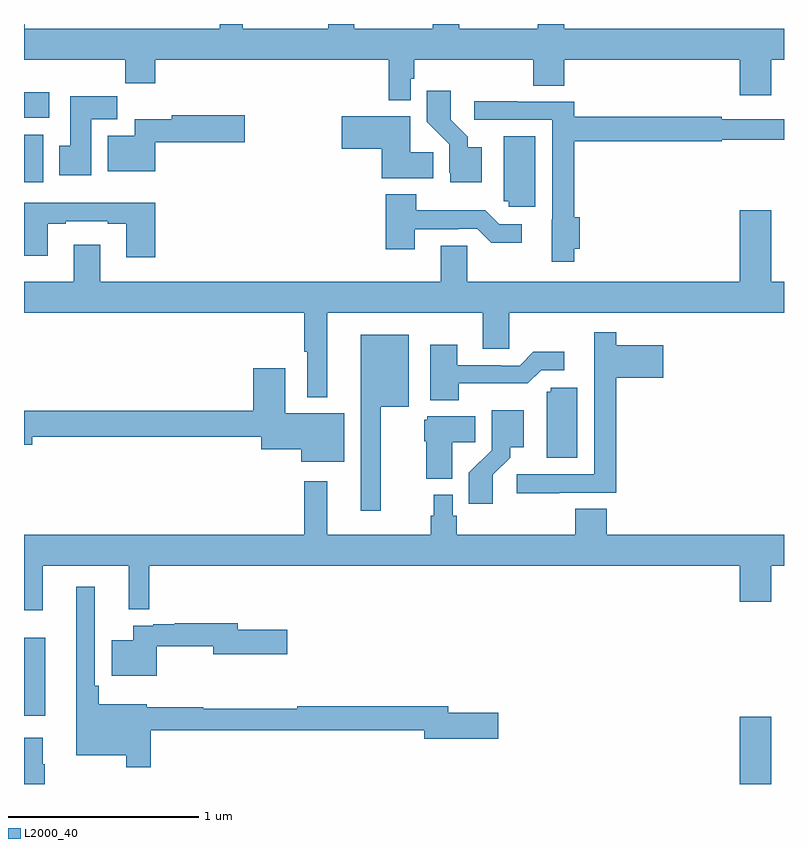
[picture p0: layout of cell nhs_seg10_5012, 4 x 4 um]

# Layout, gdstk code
import gdstk
lib = gdstk.Library(unit=1e-6, precision=1e-09)
def R(c, l, rs):  # rectangles x0, y0, x1, y1
    for r in rs: c.add(gdstk.rectangle(r[:2], r[2:], *l))
def P(c, l, *ps):  # polygons
    for p in ps: c.add(gdstk.Polygon(p, *l))
L2000_40 = (2000, 40)

nhs_seg10_5012 = lib.new_cell('nhs_seg10_5012')
R(nhs_seg10_5012, L2000_40, [(404.768,1300.5,404.932,1300.855), (401,1300.859,401.113,1301.269), (401,1303.668,401.101,1303.918), (401,1304.006,401.134,1304.14)])
P(nhs_seg10_5012, L2000_40, [(402.739,1304.5),(402.6,1304.5),(402.6,1304.476),(402.151,1304.476),(402.151,1304.5),(402.03,1304.5),(402.03,1304.476),(401.003,1304.476),(401.003,1304.5),(401,1304.5),(401,1304.312),(401.533,1304.312),(401.533,1304.188),(401.69,1304.188),(401.69,1304.312),(402.919,1304.312),(402.919,1304.099),(403.035,1304.099),(403.035,1304.211),(403.055,1304.211),(403.055,1304.312),(403.679,1304.312),(403.679,1304.176),(403.844,1304.176),(403.844,1304.312),(404.768,1304.312),(404.768,1304.124),(404.932,1304.124),(404.932,1304.312),(405,1304.312),(405,1304.476),(403.843,1304.476),(403.843,1304.5),(403.703,1304.5),(403.703,1304.476),(403.291,1304.476),(403.291,1304.5),(403.151,1304.5),(403.151,1304.476),(402.739,1304.476)],
  [(403.408,1303.852),(403.336,1303.852),(403.336,1303.907),(403.246,1303.997),(403.246,1304.149),(403.12,1304.149),(403.12,1303.986),(403.239,1303.867),(403.239,1303.716),(403.244,1303.716),(403.244,1303.667),(403.408,1303.667)],
  [(401.353,1304),(401.492,1304),(401.492,1304.119),(401.243,1304.119),(401.243,1303.86),(401.186,1303.86),(401.186,1303.704),(401.353,1303.704)],
  [(403.895,1303.316),(403.925,1303.316),(403.925,1303.482),(403.895,1303.482),(403.895,1303.882),(404.672,1303.882),(404.672,1303.89),(405,1303.89),(405,1303.998),(404.672,1303.998),(404.672,1304.011),(403.895,1304.011),(403.895,1304.091),(403.595,1304.091),(403.595,1304.094),(403.371,1304.094),(403.371,1303.995),(403.779,1303.995),(403.779,1303.47),(403.778,1303.47),(403.778,1303.248),(403.895,1303.248)],
  [(401.692,1303.877),(402.163,1303.877),(402.163,1304.019),(401.778,1304.019),(401.778,1303.999),(401.582,1303.999),(401.582,1303.912),(401.441,1303.912),(401.441,1303.724),(401.692,1303.724)],
  [(403.154,1303.826),(403.033,1303.826),(403.033,1304.014),(402.672,1304.014),(402.672,1303.844),(402.884,1303.844),(402.884,1303.688),(403.154,1303.688)],
  [(403.69,1303.91),(403.526,1303.91),(403.526,1303.566),(403.551,1303.566),(403.551,1303.539),(403.69,1303.539)],
  [(403.057,1303.419),(403.286,1303.419),(403.286,1303.422),(403.386,1303.422),(403.459,1303.349),(403.621,1303.349),(403.621,1303.446),(403.5,1303.446),(403.427,1303.519),(403.065,1303.519),(403.065,1303.603),(402.905,1303.603),(402.905,1303.314),(403.057,1303.314)],
  [(401.69,1303.558),(401,1303.558),(401,1303.28),(401.125,1303.28),(401.125,1303.449),(401.221,1303.449),(401.221,1303.461),(401.441,1303.461),(401.441,1303.449),(401.537,1303.449),(401.537,1303.272),(401.69,1303.272)],
  [(402.595,1302.98),(403.415,1302.98),(403.415,1302.79),(403.554,1302.79),(403.554,1302.98),(405,1302.98),(405,1303.144),(404.932,1303.144),(404.932,1303.519),(404.768,1303.519),(404.768,1303.144),(403.332,1303.144),(403.332,1303.334),(403.193,1303.334),(403.193,1303.144),(401.401,1303.144),(401.401,1303.339),(401.261,1303.339),(401.261,1303.144),(401,1303.144),(401,1302.98),(402.474,1302.98),(402.474,1302.775),(402.491,1302.775),(402.491,1302.536),(402.595,1302.536)],
  [(403.817,1302.033),(404.117,1302.033),(404.117,1302.638),(404.365,1302.638),(404.365,1302.808),(404.117,1302.808),(404.117,1302.877),(404,1302.877),(404,1302.654),(404.001,1302.654),(404.001,1302.129),(403.593,1302.129),(403.593,1302.031),(403.817,1302.031)],
  [(402.877,1302.485),(403.024,1302.485),(403.024,1302.865),(402.773,1302.865),(402.773,1301.937),(402.877,1301.937)],
  [(403.287,1302.608),(403.651,1302.608),(403.722,1302.678),(403.843,1302.678),(403.843,1302.775),(403.681,1302.775),(403.608,1302.702),(403.508,1302.702),(403.508,1302.705),(403.279,1302.705),(403.279,1302.811),(403.139,1302.811),(403.139,1302.521),(403.287,1302.521)],
  [(402.685,1302.451),(402.376,1302.451),(402.376,1302.688),(402.206,1302.688),(402.206,1302.464),(401,1302.464),(401,1302.286),(401.044,1302.286),(401.044,1302.328),(402.248,1302.328),(402.248,1302.263),(402.458,1302.263),(402.458,1302.197),(402.685,1302.197)],
  [(403.912,1302.585),(403.773,1302.585),(403.773,1302.564),(403.751,1302.564),(403.751,1302.216),(403.912,1302.216)],
  [(403.468,1302.127),(403.558,1302.217),(403.558,1302.272),(403.63,1302.272),(403.63,1302.466),(403.461,1302.466),(403.461,1302.257),(403.342,1302.138),(403.342,1301.976),(403.468,1301.976)],
  [(403.255,1302.298),(403.376,1302.298),(403.376,1302.436),(403.122,1302.436),(403.122,1302.417),(403.106,1302.417),(403.106,1302.303),(403.118,1302.303),(403.118,1302.107),(403.255,1302.107)],
  [(401.099,1301.648),(401.552,1301.648),(401.552,1301.419),(401.66,1301.419),(401.66,1301.648),(404.768,1301.648),(404.768,1301.46),(404.932,1301.46),(404.932,1301.648),(405,1301.648),(405,1301.812),(404.066,1301.812),(404.066,1301.948),(403.901,1301.948),(403.901,1301.812),(403.277,1301.812),(403.277,1301.913),(403.257,1301.913),(403.257,1302.022),(403.156,1302.022),(403.156,1301.913),(403.141,1301.913),(403.141,1301.812),(402.595,1301.812),(402.595,1302.094),(402.474,1302.094),(402.474,1301.812),(401,1301.812),(401,1301.415),(401.099,1301.415)],
  [(401.666,1300.782),(403.106,1300.782),(403.106,1300.739),(403.495,1300.739),(403.495,1300.874),(403.234,1300.874),(403.234,1300.91),(402.437,1300.91),(402.437,1300.895),(401.943,1300.895),(401.943,1300.903),(401.647,1300.903),(401.647,1300.921),(401.393,1300.921),(401.393,1301.017),(401.373,1301.017),(401.373,1301.539),(401.276,1301.539),(401.276,1300.652),(401.538,1300.652),(401.538,1300.587),(401.666,1300.587)],
  [(401.698,1301.226),(401.996,1301.226),(401.996,1301.183),(402.385,1301.183),(402.385,1301.313),(402.124,1301.313),(402.124,1301.347),(401.794,1301.347),(401.794,1301.34),(401.68,1301.34),(401.68,1301.334),(401.576,1301.334),(401.576,1301.257),(401.462,1301.257),(401.462,1301.069),(401.698,1301.069)],
  [(401.11,1300.604),(401.098,1300.604),(401.098,1300.744),(401,1300.744),(401,1300.5),(401.11,1300.5)])

lib.write_gds('nhs_seg10_5012.gds')
